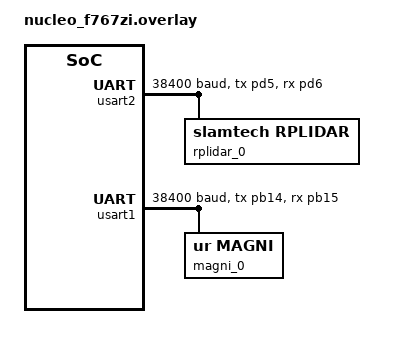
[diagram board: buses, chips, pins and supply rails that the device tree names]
/* Copyright (c) 2026 Tilmann Unte
 * SPDX-License-Identifier:  Apache-2.0
 */

&usart2 {
	pinctrl-0 = <&usart2_tx_pd5 &usart2_rx_pd6>;
	pinctrl-names = "default";
	current-speed = <38400>;
	status = "okay";
	rplidar_0 {
		compatible = "slamtech,rplidar";
		status = "okay";
	};
};

&usart1 {
	pinctrl-0 = <&usart1_tx_pb14 &usart1_rx_pb15>;
	pinctrl-names = "default";
	current-speed = <38400>;
	status = "okay";
	
	magni_0 {
		compatible = "ur,magni";
	};
};
